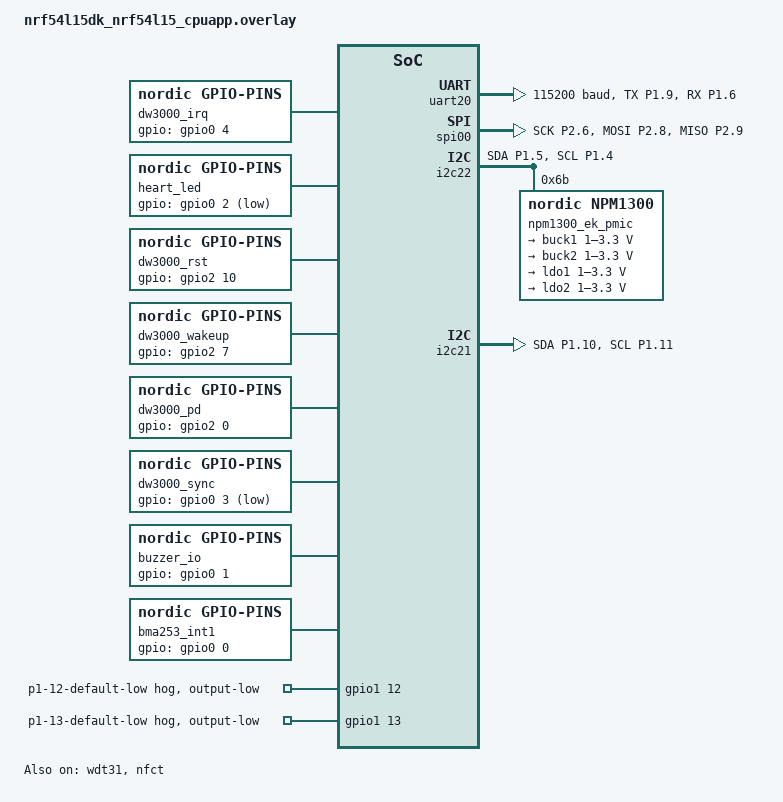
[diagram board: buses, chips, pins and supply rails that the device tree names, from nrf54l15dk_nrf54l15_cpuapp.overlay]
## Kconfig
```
#
# Copyright (c) 2018 Nordic Semiconductor
#
# SPDX-License-Identifier: LicenseRef-Nordic-5-Clause
#

source "Kconfig.zephyr"

config SETTINGS
	default y

config ZMS
	select CRC
	default y if (SOC_FLASH_NRF_RRAM || SOC_FLASH_NRF_MRAM)

config NVS
	default y if !(SOC_FLASH_NRF_RRAM || SOC_FLASH_NRF_MRAM)

config APP_SYSTEM_ON_IDLE_CALLBACK
	bool
	default y
	select ARM_ON_ENTER_CPU_IDLE_HOOK

config APP_NFC_CONFIG_PIN
	string "PIN required in NFC configuration records"
	default ""
	help
	  PIN required in writable NFC NDEF configuration records. Keep this
	  value out of version control. The PIN is embedded in firmware and is
	  intended only to prevent accidental nearby writes, not as strong
	  authentication.
```

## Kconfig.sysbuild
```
#
# Copyright (c) 2023 Nordic Semiconductor
#
# SPDX-License-Identifier: LicenseRef-Nordic-5-Clause
#

config PARTITION_MANAGER
	default n if !BOARD_THINGY53 && !BOARD_IS_NON_SECURE

source "share/sysbuild/Kconfig"
```

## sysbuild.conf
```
SB_CONFIG_BOOTLOADER_MCUBOOT=y
SB_CONFIG_MCUBOOT_MODE_SWAP_USING_MOVE=y

SB_CONFIG_BOOT_SIGNATURE_TYPE_ED25519=y
SB_CONFIG_BOOT_SIGNATURE_KEY_FILE="\${APPLICATION_CONFIG_DIR}/certs/mcuboot.pem"
```

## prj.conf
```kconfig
#
# Copyright (c) 2018 Nordic Semiconductor
#
# SPDX-License-Identifier: LicenseRef-Nordic-5-Clause
#

# Enable the UART driver
# CONFIG_UART_ASYNC_API=y
# CONFIG_NRFX_UARTE=y
CONFIG_SERIAL=y

CONFIG_GPIO=y

# Make sure printk is printing to the UART console
CONFIG_CONSOLE=y
CONFIG_UART_CONSOLE=y

CONFIG_HEAP_MEM_POOL_SIZE=2048
CONFIG_MAIN_STACK_SIZE=4096

CONFIG_FLASH=y
CONFIG_FLASH_PAGE_LAYOUT=y
CONFIG_FLASH_MAP=y

# Enable DK LED and Buttons library
# CONFIG_DK_LIBRARY=y

CONFIG_SYSTEM_WORKQUEUE_STACK_SIZE=4096
# Config logger
# CONFIG_LOG=y
# CONFIG_USE_SEGGER_RTT=y
# CONFIG_LOG_BACKEND_RTT=y
# CONFIG_LOG_BACKEND_UART=n
# CONFIG_LOG_PRINTK=n

CONFIG_ASSERT=y

CONFIG_PWM=y
CONFIG_NRFX_PWM=y
CONFIG_DMA=y
CONFIG_SPI=y
CONFIG_REBOOT=y
CONFIG_CBPRINTF_FP_SUPPORT=y
CONFIG_WATCHDOG=y

CONFIG_RETENTION=y
CONFIG_RETAINED_MEM=y
CONFIG_RETAINED_MEM_ZEPHYR_RAM=y
CONFIG_RETENTION=y
CONFIG_RETENTION_BOOT_MODE=y

CONFIG_I2C=y
CONFIG_NRF_FUEL_GAUGE=y
CONFIG_NRF_FUEL_GAUGE_VARIANT_SECONDARY_CELL=y
CONFIG_SENSOR=y
CONFIG_I2C_SHELL=y
CONFIG_REGULATOR=y 
# CONFIG_NPM13XX_REGULATOR=y
CONFIG_MFD=y
CONFIG_MFD_NPM13XX=y
CONFIG_REGULATOR_NPM13XX=y

# NFC Type 4 writable tag and chip-unique device ID.
CONFIG_NFC_T4T_NRFXLIB=y
CONFIG_HWINFO=y

# 确保 printk 输出到控制台
CONFIG_PRINTK=y
CONFIG_STDOUT_CONSOLE=y

CONFIG_APP_NFC_CONFIG_PIN="310101"
CONFIG_PM_DEVICE=y
```

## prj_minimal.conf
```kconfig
#
# Copyright (c) 2021 Nordic Semiconductor
#
# SPDX-License-Identifier: LicenseRef-Nordic-5-Clause
#

# Enable the UART driver
CONFIG_UART_ASYNC_API=y
CONFIG_NRFX_UARTE=y
CONFIG_SERIAL=y

CONFIG_HEAP_MEM_POOL_SIZE=1536
CONFIG_MAIN_STACK_SIZE=4096

CONFIG_FLASH=y
CONFIG_FLASH_PAGE_LAYOUT=y
CONFIG_FLASH_MAP=y

# Enable DK LED and Buttons library
CONFIG_DK_LIBRARY=y

# Drivers and peripherals
CONFIG_I2C=n
CONFIG_WATCHDOG=n
CONFIG_SPI=n
CONFIG_GPIO=n

# Power management

# Interrupts
CONFIG_DYNAMIC_INTERRUPTS=n
CONFIG_IRQ_OFFLOAD=n

# Memory protection
CONFIG_THREAD_STACK_INFO=n
CONFIG_THREAD_CUSTOM_DATA=n
CONFIG_FPU=n

# Boot
CONFIG_NCS_BOOT_BANNER=n
CONFIG_BOOT_BANNER=n
CONFIG_BOOT_DELAY=0

# Console
CONFIG_CONSOLE=n
CONFIG_UART_CONSOLE=n
CONFIG_STDOUT_CONSOLE=n
CONFIG_PRINTK=n
CONFIG_EARLY_CONSOLE=n

# Build
CONFIG_SIZE_OPTIMIZATIONS=y

# ARM
CONFIG_ARM_MPU=n

# In order to correctly tune the stack sizes for the threads the following
# Configurations can enabled to print the current use:
#CONFIG_THREAD_NAME=y
#CONFIG_THREAD_ANALYZER=y
#CONFIG_THREAD_ANALYZER_AUTO=y
#CONFIG_THREAD_ANALYZER_RUN_UNLOCKED=y
#CONFIG_THREAD_ANALYZER_USE_PRINTK=y
#CONFIG_CONSOLE=y
#CONFIG_UART_CONSOLE=y
#CONFIG_SERIAL=y
#CONFIG_PRINTK=y

# Example output of thread analyzer
#sysworkq            : unused 1912 usage 136 / 2048 (6 %)
#idle 00              : unused 224 usage 96 / 320 (30 %)
#main                 : unused 568 usage 456 / 1024 (44 %)
CONFIG_SYSTEM_WORKQUEUE_STACK_SIZE=1536
CONFIG_IDLE_STACK_SIZE=128
CONFIG_ISR_STACK_SIZE=1024

CONFIG_NFC_T4T_NRFXLIB=y
CONFIG_HWINFO=y

# Disable features not needed
CONFIG_TIMESLICING=n
CONFIG_COMMON_LIBC_MALLOC=n
CONFIG_LOG=n
CONFIG_LOG_BACKEND_RTT=n
CONFIG_ASSERT=n
```

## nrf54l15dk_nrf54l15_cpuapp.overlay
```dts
#include <zephyr/dt-bindings/regulator/npm13xx.h>
#include <zephyr/dt-bindings/input/input-event-codes.h>

&wdt31 {
	status = "okay";
};

&gpio1 {
	p1_12_default_low: p1-12-default-low {
		gpio-hog;
		gpios = <12 GPIO_ACTIVE_HIGH>;
		output-low;
		line-name = "p1-12-default-low";
	};

	p1_13_default_low: p1-13-default-low {
		gpio-hog;
		gpios = <13 GPIO_ACTIVE_HIGH>;
		output-low;
		line-name = "p1-13-default-low";
	};
};

/ {
	/delete-node/ leds;
	/delete-node/ buttons;
	/delete-node/ pwmleds;

	aliases{
		/delete-property/ led0;
		/delete-property/ led1;
		/delete-property/ led2;
		/delete-property/ led3;
		/delete-property/ sw0;
		/delete-property/ sw1;
		/delete-property/ sw2;
		/delete-property/ sw3;
		/delete-property/ pwm-led0;
		/delete-property/ mcuboot-button0;
		/delete-property/ mcuboot-led0;
	};

	nordic_expansion_header: nordic_expansion_header {
		/delete-property/ gpio-map-mask;
		/delete-property/ gpio-map-pass-thru;
		/delete-property/ gpio-map;
		/delete-property/ compatible;
		/delete-property/ #gpio-cells;
		status = "disabled";
	};

	chosen {
		zephyr,console = &uart20;
		zephyr,shell-uart = &uart20;
	};

	dw3000_irq: dw3000-irq {
		compatible = "nordic,gpio-pins";
		gpios = <&gpio0 4 GPIO_ACTIVE_HIGH>;
		status = "okay";
	};

	heart_led: heart-led {
		compatible = "nordic,gpio-pins";
		gpios = <&gpio0 2 GPIO_ACTIVE_LOW>;
		status = "okay";
	};
	dw3000_rst: dw3000-rst {
		compatible = "nordic,gpio-pins";
		gpios = <&gpio2 10 GPIO_ACTIVE_HIGH>;
		status = "okay";
	};

	dw3000_wakeup: dw3000-wakeup {
		compatible = "nordic,gpio-pins";
		gpios = <&gpio2 7 GPIO_ACTIVE_HIGH>;
		status = "okay";
	};
	dw3000_pd: dw3000-pd {
		compatible = "nordic,gpio-pins";
		gpios = <&gpio2 0 GPIO_ACTIVE_HIGH>;
		status = "okay";
	};

	dw3000_sync: dw3000-sync {
		compatible = "nordic,gpio-pins";
		gpios = <&gpio0 3 GPIO_ACTIVE_LOW>;
		status = "okay";
	};

	buzzer_io: buzzer-io {
		compatible = "nordic,gpio-pins";
		gpios = <&gpio0 1 GPIO_ACTIVE_HIGH>;
		status = "okay";
	};

	/*
	 * BMA253 运动检测中断 INT1 -> nRF54L15 的 P0.00
	 *
	 * BMA253 侧已配置为「高有效 + 推挽输出」
	 * (CTRL_REG5 的 H_LACTIVE=0、INT_PP_OD=0)，所以这里用
	 * GPIO_ACTIVE_HIGH。
	 *
	 * 注意：Zephyr 的 GPIO 中断不支持内部下拉，所以引脚不能悬空。
	 * BMA253 是推挽输出会主动驱动高/低，正常连接下不悬空；
	 * 如果误触发严重，可在 P0.00 上加一个外部下拉（10k 到 GND）。
	 *
	 * ⚠ P0.00 的 RESET 复用：
	 *   nRF54L15 的 nRESET 默认就是 P0.00。Zephyr 里它由 UICR 的
	 *   gpio-as-nreset 属性决定（整个 NCS 里没有任何 nRF54L 板子设置
	 *   它，所以默认不启用，P0.00 可作普通 GPIO）。
	 *   若发现中断不响应、或一给低电平就复位，请检查 UICR：
	 *       nrfjprog --memrd 0x00FFD000
	 *   确认没有被配置成复位引脚；必要时整片擦除（--eraseall）后重烧，
	 *   或显式声明：
	 *       &uicr { gpio-as-nreset; };   // 只在确实需要 nRESET 时
	 */
	bma253_int1: bma253-int1 {
		compatible = "nordic,gpio-pins";
		gpios = <&gpio0 0 GPIO_ACTIVE_HIGH>;
		status = "okay";
	};
};

&pinctrl{
	/omit-if-no-ref/ uart21_only_default: uart21_only_default {
		group1 {
			psels = <NRF_PSEL(UART_TX, 1, 12)>;
		};
		group2 {
			psels = <NRF_PSEL(UART_RX, 1, 13)>;
			bias-pull-up;
		};
	};
	/omit-if-no-ref/ uart21_only_sleep: uart21_only_sleep {
		group1 {
			psels = <NRF_PSEL(UART_TX, 1, 12)>,
					<NRF_PSEL(UART_RX, 1, 13)>;
			low-power-enable;
		};
	};
	/omit-if-no-ref/ uart20_only_default: uart20_only_default {
		group1 {
			psels = <NRF_PSEL(UART_TX, 1, 9)>,
                    		<NRF_PSEL(UART_RX, 1, 6)>;
		};
	};
	/omit-if-no-ref/ uart20_only_sleep: uart20_only_sleep {
		group1 {
			psels = <NRF_PSEL(UART_TX, 1, 9)>,
                    		<NRF_PSEL(UART_RX, 1, 6)>;
			bias-pull-up;
			low-power-enable;
		};
	};

	/omit-if-no-ref/ spi00_default: spi00_default {
		group1 {
			psels = <NRF_PSEL(SPIM_SCK, 2, 6)>,
					<NRF_PSEL(SPIM_MOSI, 2, 8)>,
					<NRF_PSEL(SPIM_MISO, 2, 9)>;
		};
	};

	/omit-if-no-ref/ spi00_sleep: spi00_sleep {
		group1 {
			psels = <NRF_PSEL(SPIM_SCK, 2, 6)>,
					<NRF_PSEL(SPIM_MOSI, 2, 8)>,
					<NRF_PSEL(SPIM_MISO, 2, 9)>;
			low-power-enable;
		};
	};
	/omit-if-no-ref/ i2c22_default: i2c22_default {
		group1 {
			psels = <NRF_PSEL(TWIM_SDA, 1, 5)>,
					<NRF_PSEL(TWIM_SCL, 1, 4)>;
		};
	};
	/omit-if-no-ref/ i2c22_sleep: i2c22_sleep {
		group1 {
			psels = <NRF_PSEL(TWIM_SDA, 1, 5)>,
					<NRF_PSEL(TWIM_SCL, 1, 4)>;
			low-power-enable;
		};
	};
	/omit-if-no-ref/ i2c21_default: i2c21_default {
		group1 {
			psels = <NRF_PSEL(TWIM_SDA, 1, 10)>,
					<NRF_PSEL(TWIM_SCL, 1, 11)>;
		};
	};
	/omit-if-no-ref/ i2c21_sleep: i2c21_sleep {
		group1 {
			psels = <NRF_PSEL(TWIM_SDA, 1, 10)>,
					<NRF_PSEL(TWIM_SCL, 1, 11)>;
			low-power-enable;
		};
	};
};

&uart21 {
	current-speed = <115200>;
	pinctrl-0 = <&uart21_only_default>;
	pinctrl-1 = <&uart21_only_sleep>;
	pinctrl-names = "default", "sleep";
	status = "disabled";
};

&uart20 {
	current-speed = <115200>;
	pinctrl-0 = <&uart20_only_default>;
	pinctrl-1 = <&uart20_only_sleep>;
	pinctrl-names = "default", "sleep";
	status = "okay";
};

&pwm20{
	/delete-property/ pinctrl-0;
	/delete-property/ pinctrl-1;
	/delete-property/ pinctrl-names;
	status = "disabled";
};

&nfct {
	status = "okay";
};

&adc {
	status = "disabled";
};

nordic_expansion_spi: &spi22 {
	status = "disabled";
};

&lfxo {
	load-capacitors = "external";
	load-capacitance-femtofarad = <12000>;
};

&spi00 {
	status = "okay";
	cs-gpios = <&gpio2 5 GPIO_ACTIVE_HIGH>;
	pinctrl-0 = <&spi00_default>;
	pinctrl-1 = <&spi00_sleep>;
	pinctrl-names = "default", "sleep";

	/delete-node/ mx25r6435f@0;
};

i2c_npm13xx: &i2c22 {
	status = "okay";
	pinctrl-0 = <&i2c22_default>;
	pinctrl-1 = <&i2c22_sleep>;
	pinctrl-names = "default", "sleep";
};

i2c_bma253: &i2c21 {
	status = "okay";
	pinctrl-0 = <&i2c21_default>;
	pinctrl-1 = <&i2c21_sleep>;
	pinctrl-names = "default", "sleep";
};


&i2c_npm13xx {
	npm1300_ek_pmic: pmic@6b {
		compatible = "nordic,npm1300";
		reg = <0x6b>;

		/* host-int-gpios = <&gpio0 4 0>;
		pmic-int-pin = <3>; */

		ship-to-active-time-ms = <96>;
		long-press-reset = "one-button";
		npm1300_gpio: gpio-controller {
			compatible = "nordic,npm1300-gpio";
			gpio-controller;
			#gpio-cells = <2>;
			ngpios = <5>;
		};

		npm1300_ek_charger: charger {
			compatible = "nordic,npm1300-charger";
			vbus-limit-microamp = <800000>;

			thermistor-ohms = <10000>;
			thermistor-beta = <3380>;
			thermistor-cold-millidegrees = <1000>;

			/*
			 * 【关键】必须显式写 charging-enable。
			 * 它是布尔属性、没有 default，驱动里是
			 *     if (config->charging_enable) {
			 *             ... CHGR_OFFSET_EN_SET = 1 ...
			 *     }
			 * 不写 => 从不置 EN_SET 位 => 充电永不启动。
			 */
			charging-enable;

			/*
			 * 允许在低于 vbatlow 阈值时也充电。
			 * 没有这一条时，电池电压很低（本机读数 ~2.95V）会被拒绝充电。
			 */
			vbatlow-charge-enable;
			trickle-microvolt = <2900000>;
			/*
			 * 不要写 disable-recharge：它禁止充满后的自动再充电，
			 * 会让电池掉电后无法回充。
			 */

			dietemp-resume-millidegrees = <100000>;
			dietemp-stop-millidegrees = <109000>;

			/* 单节 Li-ion 满充 4.2V；官方参考用 4.15V。
			 * 原来的 3.5V 太低，电池几乎充不进电。 */
			term-microvolt = <4200000>;
			term-warm-microvolt = <3600000>;

			current-microamp = <800000>;
			dischg-limit-microamp = <1000000>;

			/* 充满判定电流 = current-microamp 的百分比。
			 * 绑定里是枚举 10 或 20，默认 10。 */
			term-current-percent = <10>;
		};

		npm1300_ek_leds: leds {
			compatible = "nordic,npm1300-led";
			nordic,led0-mode = "error";
			nordic,led1-mode = "charging";
			nordic,led2-mode = "host";
		};

		regulators {
			compatible = "nordic,npm1300-regulator";
			buck1: BUCK1 {
				status = "okay";
				regulator-boot-on;
				regulator-init-microvolt = <3300000>;
				regulator-min-microvolt = <1000000>;
				regulator-max-microvolt = <3300000>;
				regulator-initial-mode = <NPM13XX_BUCK_MODE_AUTO>;
			};
			buck2: BUCK2 {
				status = "okay";
				regulator-boot-on;
				regulator-init-microvolt = <3300000>;
				regulator-min-microvolt = <1000000>;
				regulator-max-microvolt = <3300000>;
				regulator-initial-mode = <NPM13XX_BUCK_MODE_AUTO>;
			};
			ldo1: LDO1 {
				regulator-min-microvolt = <1000000>;
       				regulator-max-microvolt = <3300000>;
				regulator-initial-mode = <NPM13XX_LDSW_MODE_LDSW>;
				soft-start-microamp = <100000>;
			};
			ldo2: LDO2 {
				regulator-min-microvolt = <1000000>;
        			regulator-max-microvolt = <3300000>;
				regulator-initial-mode = <NPM13XX_LDSW_MODE_LDSW>;
				soft-start-microamp = <100000>;
			};
		};
	};
};
```

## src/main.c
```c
/*
 * Copyright (c) 2018 Nordic Semiconductor ASA
 *
 * SPDX-License-Identifier: LicenseRef-Nordic-5-Clause
 */

/** @file
 *  @brief Nordic UART Bridge Service (NUS) sample
 */


#include <zephyr/types.h>
#include <soc.h>

#include <stdio.h>
#include <string.h>

#include "dw3000_node.h"
#include "ledlight.h"
#include "nfc_config_tag.h"

#include "config.h"

#include <zephyr/kernel.h>
#include <zephyr/device.h>
#include <zephyr/devicetree.h>
#include <zephyr/drivers/gpio.h>
#include <zephyr/drivers/mfd/npm13xx.h>
#include <zephyr/drivers/sensor.h>
#include <zephyr/sys/printk.h>
#include <zephyr/drivers/watchdog.h>
#include "fuel_gauge.h"
#include <zephyr/drivers/uart.h>
#include "imu_driver/bma253_example.h"
#include "buzzer/buzzer.h"
#include "power_mgr/power_mgr.h"

#define MAIN_LOOP_SLEEP_BACKOFF_NUM      12U
#define MAIN_LOOP_SLEEP_BACKOFF_DEN      10U
#define UWB_NO_RESPONSE_GRACE_MS         3000U
#define WATCHDOG_TIMEOUT_MS              25000U


#if DT_NODE_EXISTS(DT_NODELABEL(npm1300_ek_pmic))
#define NPM13XX_DEVICE(dev) DEVICE_DT_GET(DT_NODELABEL(npm1300_ek_##dev))
#elif DT_NODE_EXISTS(DT_NODELABEL(npm1304_ek_pmic))
#define NPM13XX_DEVICE(dev) DEVICE_DT_GET(DT_NODELABEL(npm1304_ek_##dev))
#else
#error "neither npm1300 nor npm1304 found in devicetree"
#endif

static const struct device *pmic = NPM13XX_DEVICE(pmic);
static const struct device *charger = NPM13XX_DEVICE(charger);
static const struct device *const watchdog = DEVICE_DT_GET(DT_ALIAS(watchdog0));
static volatile bool vbus_connected;

static void business_idle_callback(void)
{
	/*
	 * System-ON-IDLE 前的业务处理放在这里。
	 * 此回调运行在 idle 上下文且中断已锁定，不能阻塞或睡眠。
	 */
}

static int watchdog_init(void)
{
	static const struct wdt_timeout_cfg config = {
		.window = {
			.min = 0,
			.max = WATCHDOG_TIMEOUT_MS,
		},
		.callback = NULL,
		.flags = WDT_FLAG_RESET_SOC,
	};
	int channel_id;
	int err;

	if (!device_is_ready(watchdog)) {
		printk("Watchdog device is not ready\n");
		return -ENODEV;
	}

	channel_id = wdt_install_timeout(watchdog, &config);
	if (channel_id < 0) {
		printk("Failed to install watchdog timeout: %d\n", channel_id);
		return channel_id;
	}

	err = wdt_setup(watchdog, 0);
	if (err) {
		printk("Failed to start watchdog: %d\n", err);
		return err;
	}

	printk("Watchdog started with a %u ms timeout\n", WATCHDOG_TIMEOUT_MS);
	return channel_id;
}

static void event_callback(const struct device *dev, struct gpio_callback *cb, uint32_t pins)
{
	if (pins & BIT(NPM13XX_EVENT_VBUS_DETECTED)) {
		printk("Vbus connected\n");
		vbus_connected = true;
	}

	if (pins & BIT(NPM13XX_EVENT_VBUS_REMOVED)) {
		printk("Vbus removed\n");
		vbus_connected = false;
	}
}

int bms_init(void)
{
	int err;

	if (!device_is_ready(pmic)) {
		printk("Pmic device not ready.\n");
		return 0;
	}

	if (!device_is_ready(charger)) {
		printk("Charger device not ready.\n");
		return 0;
	}

	if (fuel_gauge_init(charger) < 0) {
		printk("Could not initialise fuel gauge.\n");
		return 0;
	}

	static struct gpio_callback event_cb;

	gpio_init_callback(&event_cb, event_callback,
			   BIT(NPM13XX_EVENT_VBUS_DETECTED) | BIT(NPM13XX_EVENT_VBUS_REMOVED));

	err = mfd_npm13xx_add_callback(pmic, &event_cb);
	if (err) {
		printk("Failed to add pmic callback.\n");
		return 0;
	}

	/* Initialise vbus detection status. */
	struct sensor_value val;
	int ret = sensor_attr_get(charger, SENSOR_CHAN_CURRENT, SENSOR_ATTR_UPPER_THRESH, &val);

	if (ret < 0) {
		return false;
	}

	vbus_connected = (val.val1 != 0) || (val.val2 != 0);

	/* 【诊断】直接读"期望充电电流"属性：驱动返回的是 CHGR 的
	 * EN_SET 寄存器（CHGR_BASE+0x04）。它 != 0 才说明充电被使能。
	 * 若此处读到 0，就是 charging-enable 没生效。 */
	{
		struct sensor_value chg_en;

		if (sensor_attr_get(charger, SENSOR_CHAN_GAUGE_DESIRED_CHARGING_CURRENT,
				    SENSOR_ATTR_CONFIGURATION, &chg_en) == 0) {
			printk("充电使能位 CHGR EN_SET = 0x%02X (%s)\n",
			       (unsigned)chg_en.val1,
			       (chg_en.val1 != 0) ? "已使能" : ">>> 未使能 <<<");
		}
	}

	printk("PMIC device ok (VBUS %s)\n", vbus_connected ? "已接入" : "未接入");
#if 0
	while (1) {
		fuel_gauge_update(charger, vbus_connected);
		k_msleep(100);
	}
#endif
	return 0;
}


int main(void)
{
	printf("Starting signal convert v4 app...\n");

	uint64_t last_print_time = 0;
	uint64_t last_buzzer_time = 0;
	uint64_t curr_ts = 0;
	uwb_settings_t uwb_settings;
	uint32_t main_loop_sleep_ms;
	uint64_t uwb_power_on_time_ms = 0U;
	bool uwb_active = false;
	bool nfc_initialized = false;
	int watchdog_channel;
	int err;

	watchdog_channel = watchdog_init();
	if (watchdog_channel < 0) {
		return watchdog_channel;
	}

	bms_init();
	nrfConfigInit();
	err = uwb_settings_get(&uwb_settings);
	if (err != 0) {
		printk("Failed to load UWB settings: %d\n", err);
		return err;
	}
	main_loop_sleep_ms = uwb_settings.min_interval_ms;
	LedLightInit();

	err = nfc_config_tag_init();
	if (err < 0) {
		printk("NFC tag initialization failed: %d\n", err);
	} else {
		nfc_initialized = true;
	}

	// RS485_deal_init();
	// Zigbee_deal_init();

	/* 低功耗状态机：管理 BUCK2(UWB) 上下电与 ship mode。
	 * 注意：UWB 不再在这里常开，改由运动检测触发上电。 */
	power_mgr_init();
	if (power_mgr_register_idle_callback(business_idle_callback) != 0) {
		printk("Failed to register System-ON-IDLE callback\n");
		return -EALREADY;
	}

	bma253_example_init();

	buzzer_init();

	buzzer_on(100);

	for (;;) {
		err = uwb_settings_get(&uwb_settings);
		if (err != 0) {
			printk("Failed to read UWB settings: %d\n", err);
			return err;
		}
		if (main_loop_sleep_ms < uwb_settings.min_interval_ms) {
			main_loop_sleep_ms = uwb_settings.min_interval_ms;
		} else if (main_loop_sleep_ms > uwb_settings.max_interval_ms) {
			main_loop_sleep_ms = uwb_settings.max_interval_ms;
		}

		curr_ts = k_uptime_get();
		if (curr_ts - last_print_time > 5000 || last_print_time == 0) {
			LedLightOn(50);
			last_print_time = curr_ts;
			fuel_gauge_update(charger, vbus_connected);
			//该功能暂时注释掉，因为会导致在主循环中频繁触发蜂鸣器，影响正常使用
			fuel_gauge_data_t fuel_gauge_data = {0};
			fuel_gauge_data_get(&fuel_gauge_data);
			if(fuel_gauge_data.soc < 10.0f && curr_ts - last_buzzer_time > 60000 && fuel_gauge_data.chg_status == 0) {
				buzzer_beep(50, 150, 2);
				printk("Warning: Battery SoC is below 10%%, please charge the battery soon!\n");
				last_buzzer_time = curr_ts;
			}
			if (nfc_initialized) {
				err = nfc_config_tag_refresh_info();
				if (err != 0) {
					printk("Failed to refresh NFC status: %d\n", err);
				}
			}
			bma253_example_poll();
			printf("main loop: uptime=%llu ms, motion_count=%u, "
			       "main_loop_sleep_ms=%u\n",
			       curr_ts, (unsigned)power_mgr_get_motion_count(), main_loop_sleep_ms);
		}

		/* 低功耗状态机：只判断 30s 深度休眠（进 ship mode）。
		 * 10s 活动窗口由 power_mgr 内部的 k_timer 精确计时，
		 * 不依赖这个循环的调用频率。 */
		power_mgr_sleep_check();

		/* 只在「运动触发的 10s 活动窗口」内才发送 UWB 轮询。
		 * 窗口外 UWB 已进入低功耗，调用它没有意义。
		 *
		 * 规则：
		 *   1. 从 UWB 上电成功的时刻开始计时；
		 *   2. 前 3s 内未收到应答时，不启动退避；
		 *   3. 超过 3s 仍未收到应答时，才按指数/线性退避增加 sleep；
		 *   4. 任何有效应答都立即恢复到最短间隔，并重置 3s 窗口。
		 */
		bool uwb_is_active = power_mgr_uwb_is_active();
		if (uwb_is_active && !uwb_active) {
			uwb_active = true;
			uwb_power_on_time_ms = curr_ts;
			main_loop_sleep_ms = uwb_settings.min_interval_ms;
		}
		if (!uwb_is_active) {
			uwb_active = false;
			uwb_power_on_time_ms = 0U;
			main_loop_sleep_ms = uwb_settings.max_interval_ms;
			// Indicator_lights_off();
		} else {
			dw1000_sendpoll(curr_ts);
			if (dw1000_take_poll_response()) {
				uwb_power_on_time_ms = curr_ts;
				main_loop_sleep_ms = uwb_settings.min_interval_ms;
			} else {
				uint32_t elapsed_since_uwb_on_ms = (uint32_t)(curr_ts - uwb_power_on_time_ms);

				if (elapsed_since_uwb_on_ms >= UWB_NO_RESPONSE_GRACE_MS) {
					if (main_loop_sleep_ms < uwb_settings.max_interval_ms) {
						uint32_t next_sleep_ms =
							(main_loop_sleep_ms * MAIN_LOOP_SLEEP_BACKOFF_NUM) /
							MAIN_LOOP_SLEEP_BACKOFF_DEN;
						if (next_sleep_ms < main_loop_sleep_ms) {
							next_sleep_ms = main_loop_sleep_ms;
						}
						if (next_sleep_ms > uwb_settings.max_interval_ms) {
							next_sleep_ms = uwb_settings.max_interval_ms;
						}
						main_loop_sleep_ms = next_sleep_ms;
					}
				} else {
					main_loop_sleep_ms = uwb_settings.min_interval_ms;
				}
			}
		}

		if (wdt_feed(watchdog, watchdog_channel) != 0) {
			printk("Watchdog feed failed\n");
			return -EIO;
		}

		(void)power_mgr_wait_for_motion(main_loop_sleep_ms);
	}
}
```
